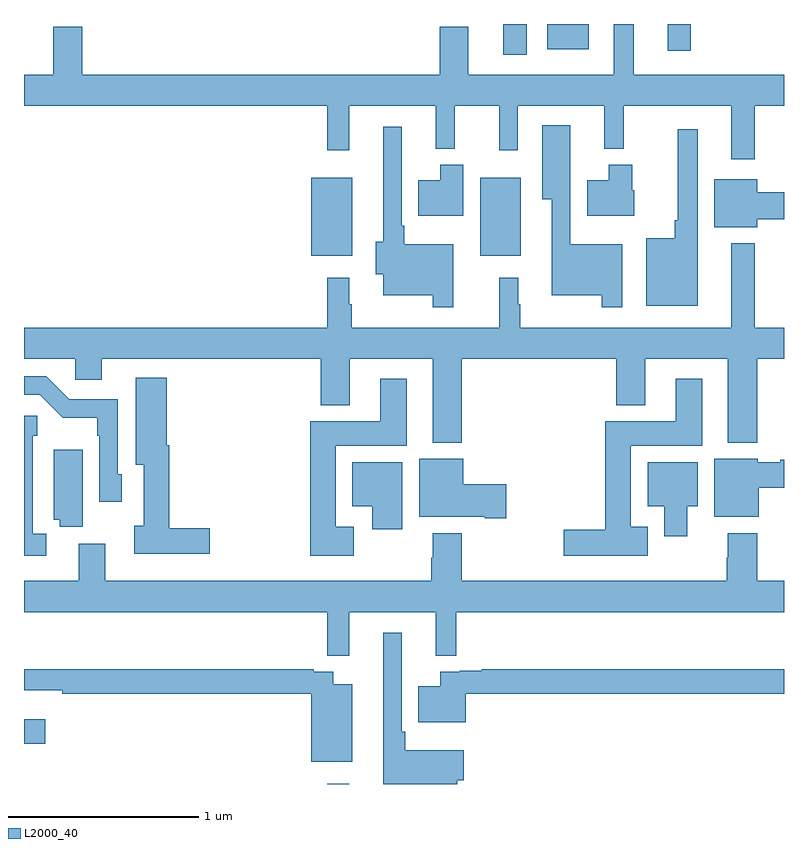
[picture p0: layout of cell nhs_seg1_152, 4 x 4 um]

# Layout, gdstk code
import gdstk
lib = gdstk.Library(unit=1e-6, precision=1e-09)
def R(c, l, rs):  # rectangles x0, y0, x1, y1
    for r in rs: c.add(gdstk.rectangle(r[:2], r[2:], *l))
def P(c, l, *ps):  # polygons
    for p in ps: c.add(gdstk.Polygon(p, *l))
L2000_40 = (2000, 40)

nhs_seg1_152 = lib.new_cell('nhs_seg1_152')
R(nhs_seg1_152, L2000_40, [(120.595,512.199,120.712,512.2), (119,512.41,119.113,512.539), (120.512,514.979,120.727,515.389), (121.4,514.979,121.615,515.389), (121.523,516.036,121.645,516.199), (122.387,516.057,122.509,516.199), (121.755,516.065,121.972,516.199)])
P(nhs_seg1_152, L2000_40, [(122.845,515.768),(123,515.768),(123,515.932),(122.209,515.932),(122.209,516.199),(122.105,516.199),(122.105,515.932),(121.339,515.932),(121.339,516.184),(121.187,516.184),(121.187,515.932),(119.306,515.932),(119.306,516.184),(119.153,516.184),(119.153,515.932),(119,515.932),(119,515.768),(120.595,515.768),(120.595,515.535),(120.713,515.535),(120.713,515.768),(121.166,515.768),(121.166,515.543),(121.266,515.543),(121.266,515.768),(121.501,515.768),(121.501,515.535),(121.599,515.535),(121.599,515.768),(122.054,515.768),(122.054,515.543),(122.156,515.543),(122.156,515.768),(122.723,515.768),(122.723,515.487),(122.845,515.487)],
  [(122.148,515.041),(121.876,515.041),(121.876,515.665),(121.727,515.665),(121.727,515.276),(121.778,515.276),(121.778,514.772),(122.04,514.772),(122.04,514.707),(122.148,514.707)],
  [(121.26,515.041),(121,515.041),(121,515.137),(120.987,515.137),(120.987,515.659),(120.89,515.659),(120.89,515.054),(120.851,515.054),(120.851,514.883),(120.89,514.883),(120.89,514.772),(121.152,514.772),(121.152,514.707),(121.26,514.707)],
  [(122.545,515.644),(122.441,515.644),(122.441,515.167),(122.424,515.167),(122.424,515.071),(122.276,515.071),(122.276,514.715),(122.545,514.715)],
  [(121.312,515.458),(121.19,515.458),(121.19,515.377),(121.076,515.377),(121.076,515.189),(121.312,515.189)],
  [(122.212,515.325),(122.2,515.325),(122.2,515.458),(122.078,515.458),(122.078,515.377),(121.964,515.377),(121.964,515.189),(122.212,515.189)],
  [(122.86,515.171),(123,515.171),(123,515.313),(122.86,515.313),(122.86,515.383),(122.633,515.383),(122.633,515.129),(122.86,515.129)],
  [(121.304,514.436),(122.117,514.436),(122.117,514.193),(122.269,514.193),(122.269,514.436),(122.705,514.436),(122.705,513.995),(122.858,513.995),(122.858,514.436),(123,514.436),(123,514.6),(122.845,514.6),(122.845,515.044),(122.723,515.044),(122.723,514.6),(121.612,514.6),(121.612,514.724),(121.6,514.724),(121.6,514.864),(121.501,514.864),(121.501,514.6),(120.724,514.6),(120.724,514.724),(120.712,514.724),(120.712,514.864),(120.595,514.864),(120.595,514.6),(119,514.6),(119,514.436),(119.271,514.436),(119.271,514.326),(119.41,514.326),(119.41,514.436),(120.563,514.436),(120.563,514.193),(120.715,514.193),(120.715,514.436),(121.151,514.436),(121.151,513.995),(121.304,513.995)],
  [(119.514,513.828),(119.493,513.828),(119.493,514.224),(119.238,514.224),(119.118,514.344),(119,514.344),(119,514.248),(119.082,514.248),(119.203,514.127),(119.385,514.127),(119.385,514.031),(119.397,514.031),(119.397,513.684),(119.514,513.684)],
  [(119.977,513.545),(119.765,513.545),(119.765,513.982),(119.752,513.982),(119.752,514.336),(119.588,514.336),(119.588,513.878),(119.63,513.878),(119.63,513.558),(119.58,513.558),(119.58,513.41),(119.977,513.41)],
  [(120.736,513.553),(120.64,513.553),(120.64,513.98),(121.015,513.98),(121.015,514.333),(120.875,514.333),(120.875,514.108),(120.506,514.108),(120.506,513.401),(120.736,513.401)],
  [(122.284,513.553),(122.194,513.553),(122.194,513.98),(122.569,513.98),(122.569,514.333),(122.429,514.333),(122.429,514.108),(122.06,514.108),(122.06,513.536),(121.842,513.536),(121.842,513.401),(122.284,513.401)],
  [(119.116,513.516),(119.047,513.516),(119.047,514.032),(119.069,514.032),(119.069,514.138),(119,514.138),(119,513.401),(119.116,513.401)],
  [(119.308,513.958),(119.156,513.958),(119.156,513.59),(119.188,513.59),(119.188,513.553),(119.308,513.553)],
  [(122.866,513.758),(123,513.758),(123,513.905),(122.979,513.905),(122.979,513.892),(122.862,513.892),(122.862,513.91),(122.633,513.91),(122.633,513.605),(122.866,513.605)],
  [(121.537,513.776),(121.312,513.776),(121.312,513.91),(121.079,513.91),(121.079,513.605),(121.424,513.605),(121.424,513.597),(121.537,513.597)],
  [(122.491,513.662),(122.545,513.662),(122.545,513.892),(122.282,513.892),(122.282,513.662),(122.369,513.662),(122.369,513.504),(122.491,513.504)],
  [(120.991,513.892),(120.728,513.892),(120.728,513.662),(120.833,513.662),(120.833,513.54),(120.991,513.54)],
  [(120.713,513.104),(121.166,513.104),(121.166,512.875),(121.274,512.875),(121.274,513.104),(123,513.104),(123,513.268),(122.858,513.268),(122.858,513.52),(122.705,513.52),(122.705,513.389),(122.698,513.389),(122.698,513.268),(121.304,513.268),(121.304,513.52),(121.151,513.52),(121.151,513.389),(121.144,513.389),(121.144,513.268),(119.428,513.268),(119.428,513.463),(119.288,513.463),(119.288,513.268),(119,513.268),(119,513.104),(120.595,513.104),(120.595,512.875),(120.713,512.875)],
  [(121.28,512.219),(121.315,512.219),(121.315,512.377),(121.007,512.377),(121.007,512.473),(120.987,512.473),(120.987,512.995),(120.89,512.995),(120.89,512.199),(121.28,512.199)],
  [(121.325,512.674),(123,512.674),(123,512.803),(121.408,512.803),(121.408,512.796),(121.294,512.796),(121.294,512.79),(121.19,512.79),(121.19,512.713),(121.076,512.713),(121.076,512.525),(121.325,512.525)],
  [(120.727,512.725),(120.628,512.725),(120.628,512.79),(120.524,512.79),(120.524,512.803),(119,512.803),(119,512.693),(119.2,512.693),(119.2,512.674),(120.512,512.674),(120.512,512.315),(120.727,512.315)])

lib.write_gds('nhs_seg1_152.gds')
